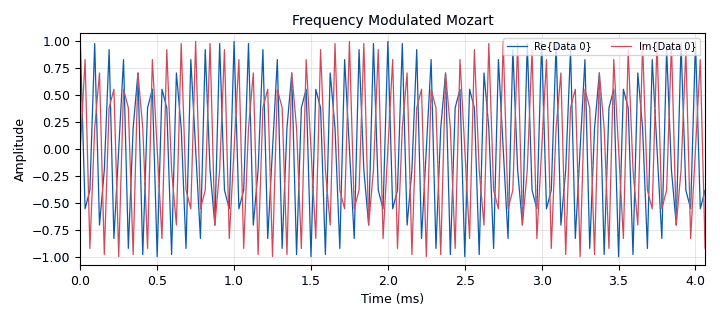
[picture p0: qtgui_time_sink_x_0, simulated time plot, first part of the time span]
<?xml version='1.0' encoding='utf-8'?>
<?grc format='1' created='3.7.11'?>
<flow_graph>
<block>
<key>options</key>
<param><key>id</key><value>top_block</value></param>
<param><key>generate_options</key><value>qt_gui</value></param>
</block>
<block>
<key>variable_qtgui_range</key>
<param><key>id</key><value>attenuation</value></param>
<param><key>value</key><value>1</value></param>
<param><key>orient</key><value>Qt.Horizontal</value></param>
<param><key>start</key><value>0</value></param>
<param><key>step</key><value>0.001</value></param>
<param><key>stop</key><value>1</value></param>
</block>
<block>
<key>variable_qtgui_push_button</key>
<param><key>id</key><value>mute_enable</value></param>
<param><key>value</key><value>0</value></param>
<param><key>pressed</key><value>1</value></param>
<param><key>released</key><value>0</value></param>
<param><key>type</key><value>int</value></param>
</block>
<block>
<key>variable</key>
<param><key>id</key><value>samp_rate</value></param>
<param><key>value</key><value>32000</value></param>
</block>
<block>
<key>analog_am_demod_cf</key>
<param><key>id</key><value>analog_am_demod_cf_0</value></param>
<param><key>audio_decim</key><value>5</value></param>
<param><key>audio_pass</key><value>5000</value></param>
<param><key>audio_stop</key><value>5500</value></param>
<param><key>chan_rate</key><value>32000</value></param>
</block>
<block>
<key>analog_sig_source_x</key>
<param><key>id</key><value>analog_sig_source_x_0</value></param>
<param><key>amp</key><value>1</value></param>
<param><key>freq</key><value>10000</value></param>
<param><key>offset</key><value>0</value></param>
<param><key>type</key><value>complex</value></param>
<param><key>samp_rate</key><value>samp_rate</value></param>
<param><key>waveform</key><value>analog.GR_COS_WAVE</value></param>
</block>
<block>
<key>analog_sig_source_x</key>
<param><key>id</key><value>analog_sig_source_x_1</value></param>
<param><key>amp</key><value>1</value></param>
<param><key>freq</key><value>1000</value></param>
<param><key>offset</key><value>0</value></param>
<param><key>type</key><value>complex</value></param>
<param><key>samp_rate</key><value>samp_rate</value></param>
<param><key>waveform</key><value>analog.GR_COS_WAVE</value></param>
</block>
<block>
<key>audio_sink</key>
<param><key>id</key><value>audio_sink_0</value></param>
<param><key>samp_rate</key><value>samp_rate</value></param>
</block>
<block>
<key>blocks_add_const_vxx</key>
<param><key>id</key><value>blocks_add_const_vxx_0</value></param>
<param><key>const</key><value>2</value></param>
<param><key>_enabled</key><value>0</value></param>
<param><key>type</key><value>complex</value></param>
</block>
<block>
<key>blocks_multiply_const_vxx</key>
<param><key>id</key><value>blocks_multiply_const_vxx_0</value></param>
<param><key>const</key><value>attenuation</value></param>
<param><key>type</key><value>complex</value></param>
</block>
<block>
<key>blocks_multiply_xx</key>
<param><key>id</key><value>blocks_multiply_xx_0</value></param>
<param><key>type</key><value>complex</value></param>
</block>
<block>
<key>blocks_wavfile_source</key>
<param><key>id</key><value>blocks_wavfile_source_0</value></param>
<param><key>_enabled</key><value>0</value></param>
<param><key>file</key><value>/home/steven/Downloads/onclassical_demo_demicheli_geminiani_pieces_allegro-in-f-major_small-version.wav</value></param>
<param><key>repeat</key><value>True</value></param>
</block>
<block>
<key>characterizer_characterizer</key>
<param><key>id</key><value>characterizer_characterizer_0</value></param>
</block>
<block>
<key>qtgui_time_sink_x</key>
<param><key>id</key><value>qtgui_time_sink_x_0</value></param>
<param><key>color1</key><value>"blue"</value></param>
<param><key>label1</key><value></value></param>
<param><key>color2</key><value>"red"</value></param>
<param><key>label2</key><value></value></param>
<param><key>name</key><value>"Frequency Modulated Mozart"</value></param>
<param><key>size</key><value>512</value></param>
<param><key>srate</key><value>samp_rate</value></param>
<param><key>type</key><value>complex</value></param>
</block>
<block>
<key>qtgui_time_sink_x</key>
<param><key>id</key><value>qtgui_time_sink_x_1</value></param>
<param><key>_enabled</key><value>0</value></param>
<param><key>color1</key><value>"blue"</value></param>
<param><key>label1</key><value></value></param>
<param><key>name</key><value>"Mozart Audio"</value></param>
<param><key>size</key><value>512</value></param>
<param><key>srate</key><value>samp_rate</value></param>
<param><key>type</key><value>float</value></param>
</block>
<connection><source_block_id>analog_am_demod_cf_0</source_block_id><sink_block_id>audio_sink_0</sink_block_id><source_key>0</source_key><sink_key>0</sink_key></connection>
<connection><source_block_id>analog_sig_source_x_0</source_block_id><sink_block_id>blocks_multiply_xx_0</sink_block_id><source_key>0</source_key><sink_key>1</sink_key></connection>
<connection><source_block_id>analog_sig_source_x_1</source_block_id><sink_block_id>blocks_add_const_vxx_0</sink_block_id><source_key>0</source_key><sink_key>0</sink_key></connection>
<connection><source_block_id>analog_sig_source_x_1</source_block_id><sink_block_id>blocks_multiply_xx_0</sink_block_id><source_key>0</source_key><sink_key>0</sink_key></connection>
<connection><source_block_id>blocks_multiply_const_vxx_0</source_block_id><sink_block_id>analog_am_demod_cf_0</sink_block_id><source_key>0</source_key><sink_key>0</sink_key></connection>
<connection><source_block_id>blocks_multiply_const_vxx_0</source_block_id><sink_block_id>characterizer_characterizer_0</sink_block_id><source_key>0</source_key><sink_key>0</sink_key></connection>
<connection><source_block_id>blocks_multiply_const_vxx_0</source_block_id><sink_block_id>qtgui_time_sink_x_0</sink_block_id><source_key>0</source_key><sink_key>0</sink_key></connection>
<connection><source_block_id>blocks_multiply_xx_0</source_block_id><sink_block_id>blocks_multiply_const_vxx_0</sink_block_id><source_key>0</source_key><sink_key>0</sink_key></connection>
</flow_graph>
